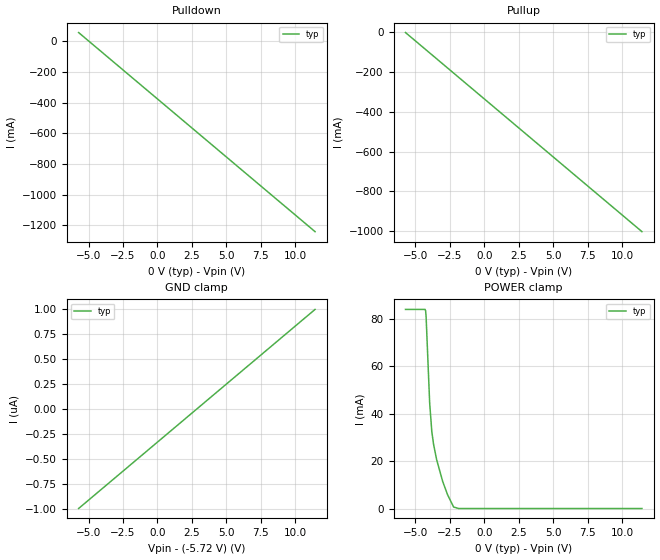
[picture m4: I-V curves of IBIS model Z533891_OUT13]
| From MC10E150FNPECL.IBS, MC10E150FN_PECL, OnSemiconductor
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| (C) COPYRIGHT 1993-2000
| MENTOR GRAPHICS CORPORATION
| ICX STANDARD LIBRARY, ICX PROJECT MODELING,
| ICX CUSTOM MODELING, ICX VENDOR MODEL
| ALL RIGHTS RESERVED.
| THE FOLLOWING ARE TRADEMARKS OR SERVICE MARKS OF
| MENTOR GRAPHICS CORPORATION:ICX (R), ICX STANDARD
| LIBRARY(R), ICX PROJECT MODELING(R), ICX CUSTOM
| MODELING(R), qualityIBIS(TM), MODELVIEWER(TM),
| AND MODELEDITOR(TM)
| ALL COPIES OF SOFTWARE, INCLUDING BUT NOT LIMITED TO
| ANY MODIFICATIONS, ENHANCEMENTS OR DERIVATIVE WORKS,
| MUST CONTAIN ALL MENTOR GRAPHICS CORPORATION'S
| NOTICES AND LEGENDS, INCLUDING THOSE EMBEDDED IN
| SOFTWARE AND THOSE AFFIXED TO SOFTWARE MEDIUM
| AND CONTAINER, AS RECEIVED FROM MENTOR GRAPHICS
| CORPORATION.
| Model Application Version 1.89 2/18/99.
[Model] Z533891_OUT13
Model_type Output_ECL
Vref=0.000V
Rref=500.0Mohms
Cref=50.00pF
Vmeas=3.620V
C_comp 8.000pF NA NA
| variable typ   min   max
[Voltage Range] -5.720V NA NA
[POWER Clamp Reference] 0.000V NA NA
[Pullup Reference] 0.000V NA NA
[Pulldown Reference] 0.000V NA NA
[GND Clamp Reference] -5.720V NA NA
[GND Clamp]
-5.72V    -1uA       NA         NA
11.44V    1uA        NA         NA
[Pulldown]
-5.72V    57.63mA    NA         NA
11.44V    -1.242A    NA         NA
[Pullup]
-5.72V    -2.912mA   NA         NA
11.44V    -1.002A    NA         NA
[POWER Clamp]
-5.72V    83.93mA    NA         NA
-4.258V   83.37mA    NA         NA
-4.224V   80.99mA    NA         NA
-3.965V   44.59mA    NA         NA
-3.809V   32.39mA    NA         NA
-3.681V   27.09mA    NA         NA
-3.462V   20.67mA    NA         NA
-3.021V   11.44mA    NA         NA
-2.67V    5.874mA    NA         NA
-2.226V   622.5uA    NA         NA
-1.855V   0A         NA         NA
11.44V    0A         NA         NA
[Ramp]
| variable typ min max
dV/dt_r 439.2m/482.6p NA NA
dV/dt_f 439.2m/466.0p NA NA
R_load = 500.0Ohms
